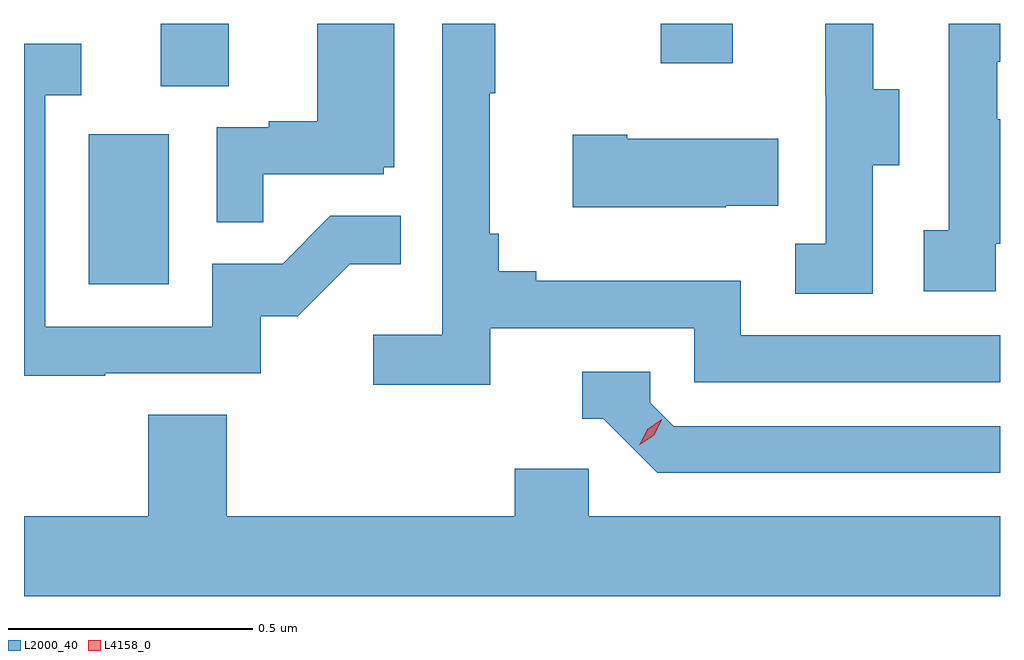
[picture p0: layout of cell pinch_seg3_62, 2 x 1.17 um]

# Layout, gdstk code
import gdstk
lib = gdstk.Library(unit=1e-6, precision=1e-09)
def R(c, l, rs):  # rectangles x0, y0, x1, y1
    for r in rs: c.add(gdstk.rectangle(r[:2], r[2:], *l))
def P(c, l, *ps):  # polygons
    for p in ps: c.add(gdstk.Polygon(p, *l))
L2000_40 = (2000, 40)
L4158_0 = (4158, 0)

pinch_seg3_62 = lib.new_cell('pinch_seg3_62')
R(pinch_seg3_62, L2000_40, [(1076.63,741.516,1076.794,741.823), (1076.777,741.922,1076.917,742.05), (1077.802,741.969,1077.949,742.05)])
P(pinch_seg3_62, L2000_40, [(1076.987,741.741),(1077.234,741.741),(1077.234,741.756),(1077.256,741.756),(1077.256,742.05),(1077.098,742.05),(1077.098,741.85),(1076.999,741.85),(1076.999,741.837),(1076.892,741.837),(1076.892,741.643),(1076.987,741.643)],
  [(1078.236,741.76),(1078.291,741.76),(1078.291,741.915),(1078.237,741.915),(1078.237,742.05),(1078.139,742.05),(1078.139,741.903),(1078.14,741.903),(1078.14,741.599),(1078.077,741.599),(1078.077,741.496),(1078.236,741.496)],
  [(1077.452,741.426),(1077.87,741.426),(1077.87,741.315),(1078.497,741.315),(1078.497,741.411),(1077.966,741.411),(1077.966,741.523),(1077.547,741.523),(1077.547,741.542),(1077.47,741.542),(1077.47,741.619),(1077.451,741.619),(1077.451,741.907),(1077.463,741.907),(1077.463,742.05),(1077.354,742.05),(1077.354,741.412),(1077.213,741.412),(1077.213,741.31),(1077.452,741.31)],
  [(1078.488,741.599),(1078.497,741.599),(1078.497,741.854),(1078.491,741.854),(1078.491,741.972),(1078.497,741.972),(1078.497,742.05),(1078.392,742.05),(1078.392,741.626),(1078.341,741.626),(1078.341,741.501),(1078.488,741.501)],
  [(1076.663,741.333),(1076.982,741.333),(1076.982,741.45),(1077.058,741.45),(1077.165,741.557),(1077.269,741.557),(1077.269,741.656),(1077.125,741.656),(1077.027,741.558),(1076.883,741.558),(1076.883,741.429),(1076.541,741.429),(1076.541,741.903),(1076.614,741.903),(1076.614,742.009),(1076.497,742.009),(1076.497,741.328),(1076.663,741.328)],
  [(1077.935,741.677),(1078.043,741.677),(1078.043,741.814),(1077.733,741.814),(1077.733,741.822),(1077.621,741.822),(1077.621,741.674),(1077.935,741.674)],
  [(1078.497,741.225),(1077.828,741.225),(1077.78,741.273),(1077.78,741.336),(1077.641,741.336),(1077.641,741.24),(1077.684,741.24),(1077.795,741.129),(1078.497,741.129)],
  [(1078.497,741.04),(1077.654,741.04),(1077.654,741.138),(1077.503,741.138),(1077.503,741.04),(1076.912,741.04),(1076.912,741.248),(1076.752,741.248),(1076.752,741.04),(1076.497,741.04),(1076.497,740.876),(1078.497,740.876)])
P(pinch_seg3_62, L4158_0, [(1077.758,741.186),(1077.758,741.186),(1077.774,741.219),(1077.804,741.239),(1077.804,741.239),(1077.804,741.238),(1077.788,741.206),(1077.758,741.186)])

lib.write_gds('pinch_seg3_62.gds')
